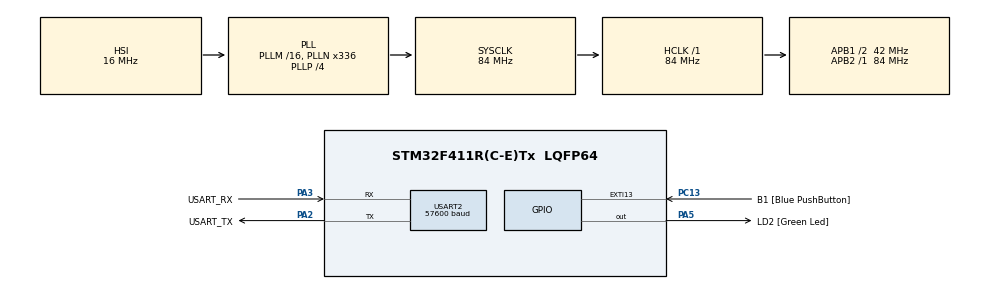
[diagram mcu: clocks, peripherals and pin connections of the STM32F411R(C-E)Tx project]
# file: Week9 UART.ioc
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Dma.Request0=USART2_RX
Dma.Request1=USART2_TX
Dma.USART2_RX.0.Direction=DMA_PERIPH_TO_MEMORY
Dma.USART2_RX.0.FIFOMode=DMA_FIFOMODE_DISABLE
Dma.USART2_RX.0.Instance=DMA1_Stream5
Dma.USART2_RX.0.MemDataAlignment=DMA_MDATAALIGN_BYTE
Dma.USART2_RX.0.MemInc=DMA_MINC_ENABLE
Dma.USART2_RX.0.Mode=DMA_CIRCULAR
Dma.USART2_RX.0.PeriphDataAlignment=DMA_PDATAALIGN_BYTE
Dma.USART2_RX.0.PeriphInc=DMA_PINC_DISABLE
Dma.USART2_RX.0.Priority=DMA_PRIORITY_LOW
Dma.USART2_TX.1.Direction=DMA_MEMORY_TO_PERIPH
Dma.USART2_TX.1.FIFOMode=DMA_FIFOMODE_DISABLE
Dma.USART2_TX.1.Instance=DMA1_Stream6
Dma.USART2_TX.1.MemDataAlignment=DMA_MDATAALIGN_BYTE
Dma.USART2_TX.1.MemInc=DMA_MINC_ENABLE
Dma.USART2_TX.1.Mode=DMA_NORMAL
Dma.USART2_TX.1.PeriphDataAlignment=DMA_PDATAALIGN_BYTE
Dma.USART2_TX.1.PeriphInc=DMA_PINC_DISABLE
Dma.USART2_TX.1.Priority=DMA_PRIORITY_LOW
Mcu.Family=STM32F4
Mcu.Name=STM32F411R(C-E)Tx
Mcu.Package=LQFP64
NVIC.DMA1_Stream5_IRQn=true\:0\:0\:false\:false\:true\:false\:true\:true
NVIC.DMA1_Stream6_IRQn=true\:0\:0\:false\:false\:true\:false\:true\:true
NVIC.PriorityGroup=NVIC_PRIORITYGROUP_0
NVIC.USART2_IRQn=true\:0\:0\:false\:false\:true\:true\:true\:true
PA13.GPIO_Label=TMS
PA13.Mode=Serial_Wire
PA13.Signal=SYS_JTMS-SWDIO
PA14.GPIO_Label=TCK
PA14.Mode=Serial_Wire
PA14.Signal=SYS_JTCK-SWCLK
PA2.GPIO_Label=USART_TX
PA2.Mode=Asynchronous
PA2.Signal=USART2_TX
PA3.GPIO_Label=USART_RX
PA3.Mode=Asynchronous
PA3.Signal=USART2_RX
PA5.GPIO_Label=LD2 [Green Led]
PA5.Signal=GPIO_Output
PB3.GPIO_Label=SWO
PB3.Signal=SYS_JTDO-SWO
PC13-ANTI_TAMP.GPIO_Label=B1 [Blue PushButton]
PC13-ANTI_TAMP.GPIO_ModeDefaultEXTI=GPIO_MODE_IT_FALLING
PC13-ANTI_TAMP.Signal=GPXTI13
PC14-OSC32_IN.Mode=LSE-External-Oscillator
PC14-OSC32_IN.Signal=RCC_OSC32_IN
PC15-OSC32_OUT.Mode=LSE-External-Oscillator
PC15-OSC32_OUT.Signal=RCC_OSC32_OUT
PH0\ -\ OSC_IN.Mode=HSE-External-Clock-Source
PH0\ -\ OSC_IN.Signal=RCC_OSC_IN
PH1\ -\ OSC_OUT.Mode=HSE-External-Clock-Source
PH1\ -\ OSC_OUT.Signal=RCC_OSC_OUT
ProjectManager.HeapSize=0x200
ProjectManager.StackSize=0x400
ProjectManager.TargetToolchain=STM32CubeIDE
RCC.48MHZClocksFreq_Value=84000000
RCC.AHBFreq_Value=84000000
RCC.APB1CLKDivider=RCC_HCLK_DIV2
RCC.APB1Freq_Value=42000000
RCC.APB1TimFreq_Value=84000000
RCC.APB2Freq_Value=84000000
RCC.APB2TimFreq_Value=84000000
RCC.CortexFreq_Value=84000000
RCC.FLatency-AdvancedSettings=FLASH_LATENCY_2
RCC.HCLKFreq_Value=84000000
RCC.HSE_VALUE=8000000
RCC.HSI_VALUE=16000000
RCC.PLLN=336
RCC.PLLP=RCC_PLLP_DIV4
RCC.SYSCLKFreq_VALUE=84000000
RCC.SYSCLKSource=RCC_SYSCLKSOURCE_PLLCLK
RCC.VCOOutputFreq_Value=336000000
USART2.BaudRate=57600
USART2.VirtualMode=VM_ASYNC
board=NUCLEO-F411RE

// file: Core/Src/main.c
/* USER CODE BEGIN Header */
/**
  ******************************************************************************
  * @file           : main.c
  * @brief          : Main program body
  ******************************************************************************
  * @attention
  *
  * Copyright (c) 2023 STMicroelectronics.
  * All rights reserved.
  *
  * This software is licensed under terms that can be found in the LICENSE file
  * in the root directory of this software component.
  * If no LICENSE file comes with this software, it is provided AS-IS.
  *
  ******************************************************************************
  */
/* USER CODE END Header */
#include "main.h"

/* USER CODE BEGIN Includes */
#include "stdio.h"
#include "string.h"
/* USER CODE END Includes */

UART_HandleTypeDef huart2;
DMA_HandleTypeDef hdma_usart2_rx;
DMA_HandleTypeDef hdma_usart2_tx;

/* USER CODE BEGIN PV */
uint8_t RxBuffer[1];
uint8_t TxBuffer[40];

uint8_t state =0;

uint8_t menuStart[500] = "=====================================================\r\n"
						 "0:LED Control\r\n"
				         "1:Button Status\r\n"
		                 "=====================================================\r\n";

uint8_t menuLED[500] = "=====================================================\r\n"
					   "a:Speed up+1\r\n"
					   "s:Speed Down\r\n"
					   "d:On/Off\r\n"
					   "x:back\r\n"
		               "=====================================================\r\n";

uint8_t menuButton[500] = "=====================================================\r\n"
						  "x:back\r\n"
					      "s:if button press/unpress show button status \r\n"
		                  "=====================================================\r\n";

uint8_t buttonPress[20] = "press\r\n";
uint8_t buttonUnPress[20] = "Unpress\r\n";

int ledstate = 0;
int8_t Hz=0;
uint16_t time=0;
/* USER CODE END PV */

void SystemClock_Config(void);
static void MX_GPIO_Init(void);
static void MX_DMA_Init(void);
static void MX_USART2_UART_Init(void);
/* USER CODE BEGIN PFP */
//void UARTPollingMethod();
//void DummyTask();
void UARTInterruptConfig();
//void HAL_UART_RxCpltCallback();
/* USER CODE END PFP */

int main(void)
{

  /* MCU Configuration--------------------------------------------------------*/

  /* Reset of all peripherals, Initializes the Flash interface and the Systick. */
  HAL_Init();

  /* Configure the system clock */
  SystemClock_Config();

  /* Initialize all configured peripherals */
  MX_GPIO_Init();
  MX_DMA_Init();
  MX_USART2_UART_Init();
  /* USER CODE BEGIN 2 */
  UARTInterruptConfig();
  /* USER CODE END 2 */

  /* Infinite loop */
  while (1)
  {
	  static uint32_t timestamp = 0;
	 	  if(HAL_GetTick()>timestamp)
	 	  {
	 		  if(Hz>0){
	 			  time = 500/Hz;
	 			  HAL_GPIO_TogglePin(LD2_GPIO_Port,LD2_Pin);
	 		  }
	 		  timestamp = HAL_GetTick()+time;

	 	  }
	 	  switch(state)
	 	  {
	 	  case 0:
	 		 HAL_Delay(10);
	 		 HAL_UART_Transmit_IT(&huart2, menuStart, strlen((char*)menuStart));
	 		 state = 1;
	 	   break;
	 	  case 1:
	 		 if(RxBuffer[0] == '0')
	 		 {
	 		 HAL_Delay(10);
	 	     HAL_UART_Transmit_IT(&huart2, menuLED, strlen((char*)menuLED));
	 	     state = 2;
	 		 }
	 		 else if(RxBuffer[0] == '1')
	 		 {
	 		 HAL_Delay(10);
	 	     HAL_UART_Transmit_IT(&huart2, menuButton, strlen((char*)menuButton));
	 	     state = 3;
	 		 }
	 	   break;
	 	  case 2://LED
	 		  if(RxBuffer[0] == 'a')
	 		 		  {
	 		 			Hz += 1;
	 		 			state = 2;
	 		 			RxBuffer[0] = '0';
	 		 		  }
	 		  if(RxBuffer[0] == 's')
	 		  		 {
	 			        Hz -= 1;
	 			        state = 2;
	 			        RxBuffer[0] = '0';
	 			        if(Hz <= 0)
	 			        {
	 			        	Hz =0;
	 			        }
	 		  		 }
	 		  if(RxBuffer[0] == 'd')
	 		  		 {
	 			     Hz =0;
	 			     if(ledstate == 0)
	 			     {
	 			     HAL_GPIO_WritePin(GPIOA, GPIO_PIN_5, GPIO_PIN_SET);
	 			     ledstate = 1 ;
	 			     }
	 			     else if(ledstate == 1)
	 			     {
	 			     HAL_GPIO_WritePin(GPIOA, GPIO_PIN_5, GPIO_PIN_RESET);
	 			     ledstate = 0 ;
	 			     }
	 			     RxBuffer[0] = '0';
	 		  		 }

	 		  if(RxBuffer[0] == 'x')
	 		  {
	 			  state = 0;
	 		  }
	 	  break;
	 	  case 3://Button

	 		  if (HAL_GPIO_ReadPin(GPIOC, GPIO_PIN_13)) {
	 			  HAL_Delay(50);
	 			  HAL_UART_Transmit_IT(&huart2, buttonUnPress, strlen((char*)buttonUnPress));
	 		          } else {
	 		        	HAL_Delay(50);
	 		        	HAL_UART_Transmit_IT(&huart2, buttonPress, strlen((char*)buttonPress));
	 		          }
	 		  if(RxBuffer[0] == 'x')
	 		  {
	 			  state = 0;
	 		  }
	 	  break;
	 	  }
  }
}

void SystemClock_Config(void)
{
  RCC_OscInitTypeDef RCC_OscInitStruct = {0};
  RCC_ClkInitTypeDef RCC_ClkInitStruct = {0};

  /** Configure the main internal regulator output voltage
  */
  __HAL_RCC_PWR_CLK_ENABLE();
  __HAL_PWR_VOLTAGESCALING_CONFIG(PWR_REGULATOR_VOLTAGE_SCALE1);

  /** Initializes the RCC Oscillators according to the specified parameters
  * in the RCC_OscInitTypeDef structure.
  */
  RCC_OscInitStruct.OscillatorType = RCC_OSCILLATORTYPE_HSI;
  RCC_OscInitStruct.HSIState = RCC_HSI_ON;
  RCC_OscInitStruct.HSICalibrationValue = RCC_HSICALIBRATION_DEFAULT;
  RCC_OscInitStruct.PLL.PLLState = RCC_PLL_ON;
  RCC_OscInitStruct.PLL.PLLSource = RCC_PLLSOURCE_HSI;
  RCC_OscInitStruct.PLL.PLLM = 16;
  RCC_OscInitStruct.PLL.PLLN = 336;
  RCC_OscInitStruct.PLL.PLLP = RCC_PLLP_DIV4;
  RCC_OscInitStruct.PLL.PLLQ = 4;
  if (HAL_RCC_OscConfig(&RCC_OscInitStruct) != HAL_OK)
  {
    Error_Handler();
  }

  /** Initializes the CPU, AHB and APB buses clocks
  */
  RCC_ClkInitStruct.ClockType = RCC_CLOCKTYPE_HCLK|RCC_CLOCKTYPE_SYSCLK
                              |RCC_CLOCKTYPE_PCLK1|RCC_CLOCKTYPE_PCLK2;
  RCC_ClkInitStruct.SYSCLKSource = RCC_SYSCLKSOURCE_PLLCLK;
  RCC_ClkInitStruct.AHBCLKDivider = RCC_SYSCLK_DIV1;
  RCC_ClkInitStruct.APB1CLKDivider = RCC_HCLK_DIV2;
  RCC_ClkInitStruct.APB2CLKDivider = RCC_HCLK_DIV1;

  if (HAL_RCC_ClockConfig(&RCC_ClkInitStruct, FLASH_LATENCY_2) != HAL_OK)
  {
    Error_Handler();
  }
}

static void MX_USART2_UART_Init(void)
{

  huart2.Instance = USART2;
  huart2.Init.BaudRate = 57600;
  huart2.Init.WordLength = UART_WORDLENGTH_8B;
  huart2.Init.StopBits = UART_STOPBITS_1;
  huart2.Init.Parity = UART_PARITY_NONE;
  huart2.Init.Mode = UART_MODE_TX_RX;
  huart2.Init.HwFlowCtl = UART_HWCONTROL_NONE;
  huart2.Init.OverSampling = UART_OVERSAMPLING_16;
  if (HAL_UART_Init(&huart2) != HAL_OK)
  {
    Error_Handler();
  }

}

static void MX_DMA_Init(void)
{

  /* DMA controller clock enable */
  __HAL_RCC_DMA1_CLK_ENABLE();

  /* DMA interrupt init */
  /* DMA1_Stream5_IRQn interrupt configuration */
  HAL_NVIC_SetPriority(DMA1_Stream5_IRQn, 0, 0);
  HAL_NVIC_EnableIRQ(DMA1_Stream5_IRQn);
  /* DMA1_Stream6_IRQn interrupt configuration */
  HAL_NVIC_SetPriority(DMA1_Stream6_IRQn, 0, 0);
  HAL_NVIC_EnableIRQ(DMA1_Stream6_IRQn);

}

static void MX_GPIO_Init(void)
{
  GPIO_InitTypeDef GPIO_InitStruct = {0};

  /* GPIO Ports Clock Enable */
  __HAL_RCC_GPIOC_CLK_ENABLE();
  __HAL_RCC_GPIOH_CLK_ENABLE();
  __HAL_RCC_GPIOA_CLK_ENABLE();
  __HAL_RCC_GPIOB_CLK_ENABLE();

  /*Configure GPIO pin Output Level */
  HAL_GPIO_WritePin(LD2_GPIO_Port, LD2_Pin, GPIO_PIN_RESET);

  /*Configure GPIO pin : B1_Pin */
  GPIO_InitStruct.Pin = B1_Pin;
  GPIO_InitStruct.Mode = GPIO_MODE_IT_FALLING;
  GPIO_InitStruct.Pull = GPIO_NOPULL;
  HAL_GPIO_Init(B1_GPIO_Port, &GPIO_InitStruct);

  /*Configure GPIO pin : LD2_Pin */
  GPIO_InitStruct.Pin = LD2_Pin;
  GPIO_InitStruct.Mode = GPIO_MODE_OUTPUT_PP;
  GPIO_InitStruct.Pull = GPIO_NOPULL;
  GPIO_InitStruct.Speed = GPIO_SPEED_FREQ_LOW;
  HAL_GPIO_Init(LD2_GPIO_Port, &GPIO_InitStruct);

}

/* USER CODE BEGIN 4 */
void UARTPollingMethod()
{
	HAL_StatusTypeDef HAL_status = HAL_UART_Receive(&huart2 , RxBuffer, 10, 1000);

	if(HAL_status == HAL_OK)
	{
		RxBuffer[10] = '\0';
		sprintf((char*)TxBuffer,"Received : %s\r\n",RxBuffer);
		HAL_UART_Transmit(&huart2, TxBuffer, strlen((char*)TxBuffer),10);
	}
	else if(HAL_status == HAL_TIMEOUT)
	{
		uint32_t lastCharPos = huart2.RxXferSize - huart2.RxXferCount;
		RxBuffer[lastCharPos] = '\0';

		sprintf((char*)TxBuffer,"Received_Timeout : %s\r\n",RxBuffer);
		HAL_UART_Transmit(&huart2, TxBuffer, strlen((char*)TxBuffer), 10);
	}
}

void DummyTask()
{
	static uint32_t timestamp=0;
	if(HAL_GetTick()>=timestamp)
	{
		timestamp = HAL_GetTick()+100;
		HAL_GPIO_TogglePin(LD2_GPIO_Port, LD2_Pin);
	}
}

void UARTInterruptConfig()
{
	HAL_UART_Receive_IT(&huart2, RxBuffer, 1);
}

void HAL_UART_RxCpltCallback(UART_HandleTypeDef *huart)
{
	if(huart == &huart2)
	{
		RxBuffer[10] = '\0';
		sprintf((char*)TxBuffer,"Recevied : %s\r\n",RxBuffer);
		HAL_UART_Transmit_IT(&huart2, TxBuffer, strlen((char*)TxBuffer));
		HAL_UART_Receive_IT(&huart2, RxBuffer, 1);
	}
}

/* USER CODE END 4 */

void Error_Handler(void)
{
  __disable_irq();
  while (1)
  {
  }
}
